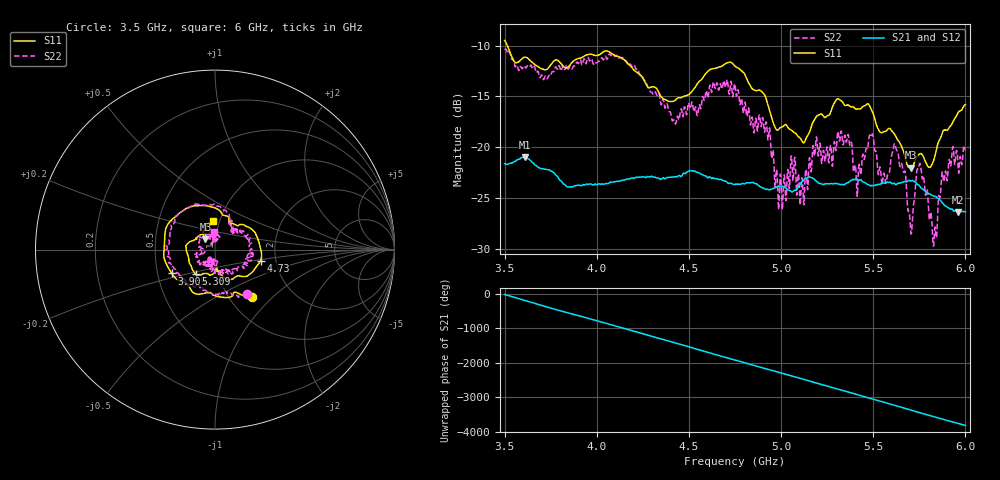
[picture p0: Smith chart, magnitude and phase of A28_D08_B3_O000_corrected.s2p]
! Created with skrf 1.9.0 (http://scikit-rf.org).
# Hz S RI R 50.0
!freq ReS11 ImS11 ReS21 ImS21 ReS12 ImS12 ReS22 ImS22
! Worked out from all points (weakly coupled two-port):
!   1601 points, 3.5 GHz to 6 GHz, reference 50 ohm
!   highest |S21| = -20.97 dB at 3.609 GHz (marker M1); lowest = -26.4 dB at 5.959 GHz (marker M2)
!   lowest |S11| = -22.0 dB at 5.706 GHz (marker M3), VSWR 1.17, Z = 44.6 + j5.23 ohm
!   |S11| at or under -10 dB: 3.515 GHz to end of sweep
!   |S22| runs from -29.8 to -10.3 dB; largest |S21 - S12| = 0.0011
!   S11 on the Smith chart (normalised r, x): 3.5 GHz: 1.27, -0.76; 3.909 GHz: 0.59, -0.17; 4.73 GHz: 1.66, -0.22; 5.309 GHz: 0.78, -0.22; 6 GHz: 0.93, +0.31
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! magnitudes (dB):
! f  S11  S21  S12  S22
! 3.5 GHz  -9.5  -21.6  -21.6  -10.3
! 3.609 GHz  -11.1  -21.0  -21.0  -12.0
! 3.909 GHz  -11.2  -23.8  -23.7  -11.4
! 3.917 GHz  -11.2  -23.8  -23.8  -11.8
! 4.334 GHz  -14.5  -23.0  -23.0  -14.9
! 4.42 GHz  -15.4  -22.9  -22.9  -17.4
! 4.73 GHz  -11.7  -23.6  -23.5  -13.5
! 4.75 GHz  -12.0  -23.7  -23.6  -13.8
! 4.928 GHz  -15.8  -24.1  -24.1  -19.3
! 4.997 GHz  -18.1  -23.9  -23.9  -22.7
! 5.167 GHz  -17.8  -23.0  -23.0  -21.5
! 5.309 GHz  -15.2  -23.6  -23.6  -18.5
! 5.406 GHz  -16.2  -23.1  -23.1  -22.4
! 5.489 GHz  -16.3  -23.8  -23.8  -19.0
! 5.584 GHz  -18.2  -23.5  -23.4  -22.6
! 5.625 GHz  -19.0  -23.7  -23.7  -20.2
! 5.706 GHz  -22.0  -23.3  -23.3  -28.6
! 5.75 GHz  -20.7  -23.8  -23.8  -21.7
! 5.834 GHz  -20.9  -24.9  -24.8  -27.9
! 5.881 GHz  -18.4  -25.6  -25.6  -23.3
! 5.959 GHz  -16.6  -26.4  -26.4  -21.6
! 6 GHz  -15.8  -26.4  -26.3  -20.2
